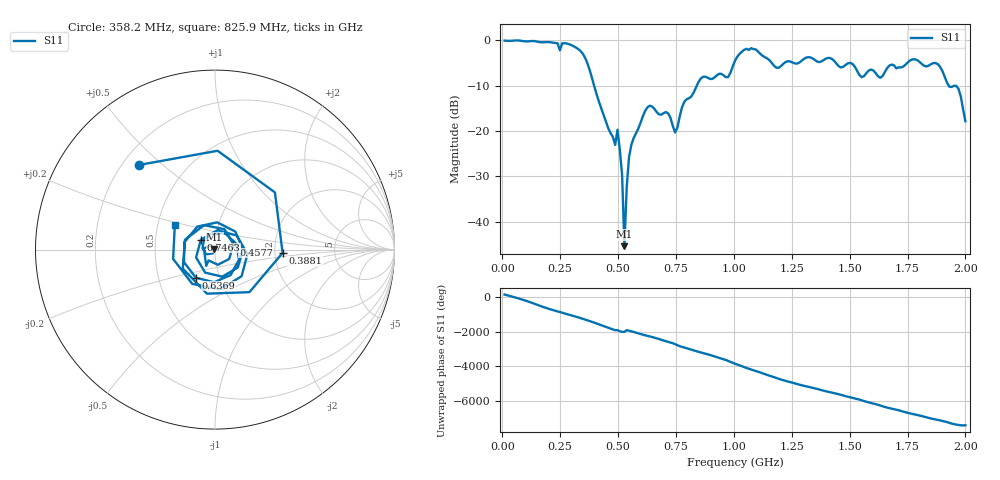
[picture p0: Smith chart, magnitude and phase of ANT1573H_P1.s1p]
!Created with skrf (http://scikit-rf.org).
# Hz S RI R 50.0
!freq ReS11 ImS11
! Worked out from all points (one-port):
!   201 points, 10 MHz to 2 GHz, reference 50 ohm
!   lowest |S11| = -45.4 dB at 527.4 MHz (marker M1), VSWR 1.01, Z = 49.6 + j0.334 ohm
!   |S11| at or under -10 dB: 396.4 MHz to 840.1 MHz (443.8 MHz wide, 71.8 % of centre); 1.928 GHz to end of sweep
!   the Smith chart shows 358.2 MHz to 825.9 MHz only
!   S11 on the Smith chart (normalised r, x): 358.2 MHz: 0.26, +0.42; 388.1 MHz: 2.21, -0.09; 457.8 MHz: 1.23, +0.07; 636.9 MHz: 0.77, -0.25; 746.3 MHz: 0.85, +0.09; 825.9 MHz: 0.61, +0.18
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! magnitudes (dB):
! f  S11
! 10 MHz  -0.1
! 258.8 MHz  -0.7
! 358.2 MHz  -3.9
! 388.1 MHz  -8.5
! 457.8 MHz  -19.4
! 487.6 MHz  -23.1
! 497.6 MHz  -19.7
! 507.5 MHz  -24.1
! 517.5 MHz  -29.7
! 527.4 MHz  -45.4
! 537.4 MHz  -32.3
! 547.3 MHz  -25.8
! 636.9 MHz  -14.4
! 716.5 MHz  -16.1
! 746.3 MHz  -20.3
! 756.2 MHz  -19.3
! 786.1 MHz  -13.6
! 825.9 MHz  -11.6
! 975.1 MHz  -8.1
! 1.005 GHz  -4.5
! 1.075 GHz  -1.8
! 1.254 GHz  -4.9
! 1.502 GHz  -5.0
! 1.632 GHz  -8.3
! 1.751 GHz  -4.9
! 1.881 GHz  -5.3
! 1.97 GHz  -10.7
! 2 GHz  -17.9
